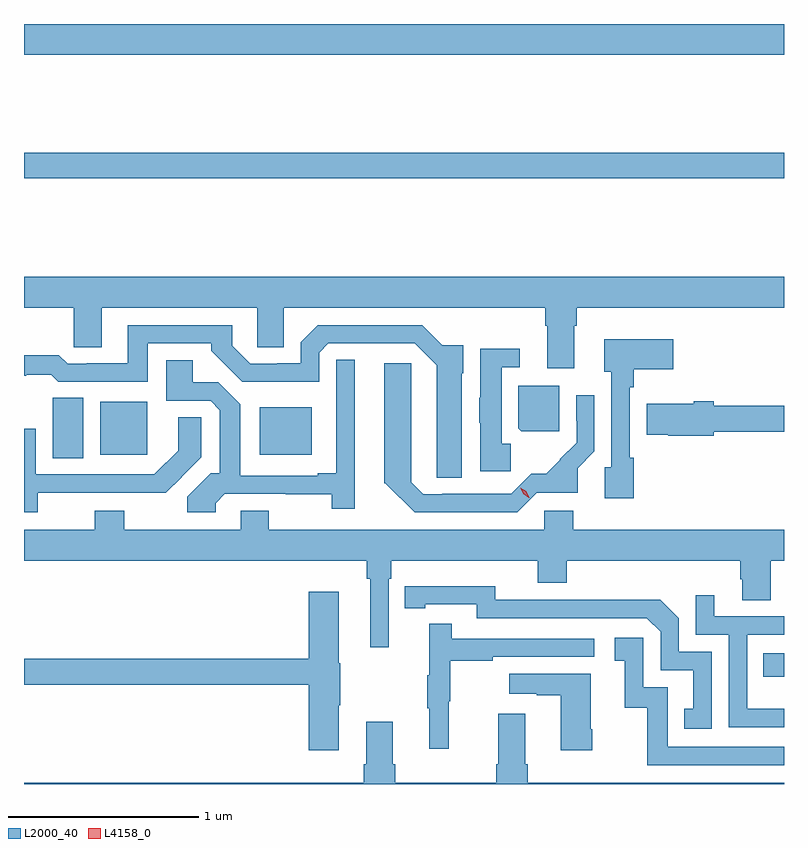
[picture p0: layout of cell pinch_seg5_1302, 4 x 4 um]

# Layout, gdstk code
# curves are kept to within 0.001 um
import gdstk
lib = gdstk.Library(unit=1e-6, precision=1e-09)
def R(c, l, rs):  # rectangles x0, y0, x1, y1
    for r in rs: c.add(gdstk.rectangle(r[:2], r[2:], *l))
def P(c, l, *ps):  # polygons
    for p in ps: c.add(gdstk.Polygon(p, *l))
L2000_40 = (2000, 40)
L4158_0 = (4158, 0)

pinch_seg5_1302 = lib.new_cell('pinch_seg5_1302')
R(pinch_seg5_1302, L2000_40, [(326.917,897.441,327.026,897.564), (323.177,898.591,323.338,898.91), (323.426,898.61,323.674,898.888), (324.266,898.61,324.541,898.861), (323.026,900.064,327.026,900.2), (323.026,900.716,327.026,900.877)])
P(pinch_seg5_1302, L2000_40, [(325.921,899.288),(325.934,899.288),(325.934,899.384),(327.026,899.384),(327.026,899.548),(323.026,899.548),(323.026,899.384),(323.288,899.384),(323.288,899.176),(323.434,899.176),(323.434,899.384),(324.254,899.384),(324.254,899.176),(324.394,899.176),(324.394,899.384),(325.769,899.384),(325.769,899.288),(325.781,899.288),(325.781,899.064),(325.921,899.064)],
  [(325.33,899.04),(325.339,899.04),(325.339,899.187),(325.228,899.187),(325.123,899.292),(324.573,899.292),(324.483,899.202),(324.483,899.091),(324.358,899.091),(324.358,899.088),(324.216,899.088),(324.122,899.183),(324.122,899.292),(323.573,899.292),(323.573,899.091),(323.356,899.091),(323.356,899.088),(323.256,899.088),(323.21,899.134),(323.026,899.134),(323.026,899.027),(323.039,899.027),(323.039,899.031),(323.17,899.031),(323.206,898.995),(323.677,898.995),(323.677,899.196),(324.012,899.196),(324.012,899.157),(324.174,898.995),(324.579,898.994),(324.579,899.148),(324.627,899.196),(325.083,899.196),(325.199,899.08),(325.199,898.489),(325.33,898.489)],
  [(326.236,898.595),(326.214,898.595),(326.214,898.964),(326.234,898.964),(326.234,899.06),(326.443,899.06),(326.443,899.218),(326.081,899.218),(326.081,899.048),(326.118,899.048),(326.118,898.545),(326.082,898.545),(326.082,898.38),(326.236,898.38)],
  [(325.588,898.668),(325.54,898.668),(325.54,899.07),(325.636,899.07),(325.636,899.168),(325.427,899.168),(325.427,898.911),(325.421,898.911),(325.421,898.779),(325.427,898.779),(325.427,898.523),(325.588,898.523)],
  [(324.034,898.355),(324.082,898.404),(324.646,898.403),(324.646,898.326),(324.766,898.326),(324.766,899.111),(324.669,899.111),(324.669,898.513),(324.572,898.513),(324.572,898.5),(324.163,898.5),(324.163,898.877),(324.048,898.992),(323.914,898.992),(323.914,899.107),(323.774,899.107),(323.774,898.893),(324.009,898.893),(324.057,898.845),(324.056,898.513),(324.01,898.513),(323.886,898.389),(323.886,898.308),(324.034,898.308)],
  [(325.725,898.41),(325.94,898.41),(325.94,898.539),(326.028,898.628),(326.028,898.924),(325.932,898.924),(325.932,898.79),(325.935,898.79),(325.935,898.674),(325.846,898.585),(325.848,898.583),(325.775,898.51),(325.696,898.51),(325.59,898.404),(325.228,898.404),(325.228,898.401),(325.128,898.401),(325.064,898.466),(325.063,899.092),(324.923,899.092),(324.923,898.461),(324.926,898.461),(325.003,898.384),(325.004,898.385),(325.082,898.308),(325.623,898.308)],
  [(325.843,898.972),(325.628,898.972),(325.628,898.749),(325.644,898.733),(325.843,898.733)],
  [(326.656,898.732),(327.026,898.732),(327.026,898.868),(326.656,898.868),(326.656,898.892),(326.552,898.892),(326.552,898.879),(326.304,898.879),(326.304,898.716),(326.416,898.716),(326.416,898.709),(326.656,898.709)],
  [(323.098,898.409),(323.773,898.409),(323.857,898.492),(323.856,898.493),(323.959,898.596),(323.958,898.807),(323.838,898.807),(323.838,898.632),(323.712,898.506),(323.089,898.506),(323.089,898.747),(323.026,898.747),(323.026,898.308),(323.098,898.308)],
  [(324.945,897.956),(324.959,897.956),(324.959,898.052),(325.73,898.052),(325.73,897.935),(325.883,897.935),(325.883,898.052),(326.795,898.052),(326.795,897.954),(326.807,897.954),(326.807,897.844),(326.955,897.844),(326.955,898.052),(327.026,898.052),(327.026,898.216),(325.916,898.216),(325.916,898.314),(325.764,898.314),(325.764,898.216),(324.315,898.216),(324.315,898.315),(324.167,898.315),(324.167,898.216),(323.553,898.216),(323.553,898.315),(323.398,898.315),(323.398,898.216),(323.026,898.216),(323.026,898.052),(324.829,898.052),(324.829,897.956),(324.848,897.956),(324.848,897.597),(324.945,897.597)],
  [(326.646,897.573),(326.472,897.573),(326.472,897.75),(326.374,897.848),(325.966,897.848),(325.966,897.846),(325.506,897.846),(325.506,897.919),(325.03,897.918),(325.03,897.802),(325.138,897.802),(325.138,897.822),(325.41,897.822),(325.41,897.75),(326.304,897.75),(326.376,897.678),(326.376,897.477),(326.549,897.477),(326.549,897.273),(326.5,897.273),(326.5,897.168),(326.646,897.168)],
  [(324.682,897.292),(324.69,897.292),(324.69,897.513),(324.682,897.513),(324.682,897.889),(324.524,897.889),(324.524,897.536),(323.026,897.536),(323.026,897.4),(324.524,897.4),(324.524,897.054),(324.682,897.054)],
  [(327.026,897.274),(326.832,897.274),(326.832,897.663),(327.026,897.663),(327.026,897.759),(326.659,897.759),(326.659,897.871),(326.562,897.871),(326.562,897.663),(326.736,897.663),(326.736,897.177),(327.026,897.177)],
  [(325.262,897.312),(325.27,897.312),(325.27,897.526),(325.493,897.526),(325.493,897.546),(326.026,897.546),(326.026,897.642),(325.277,897.642),(325.277,897.721),(325.16,897.721),(325.16,897.449),(325.149,897.449),(325.149,897.275),(325.16,897.275),(325.16,897.063),(325.262,897.063)],
  [(327.026,897.072),(326.415,897.072),(326.415,897.387),(326.286,897.387),(326.286,897.646),(326.136,897.646),(326.136,897.525),(326.189,897.525),(326.189,897.279),(326.307,897.279),(326.307,896.976),(327.026,896.976)],
  [(326.016,897.166),(326.008,897.166),(326.008,897.457),(325.581,897.457),(325.581,897.353),(325.724,897.353),(325.724,897.343),(325.85,897.343),(325.85,897.054),(326.016,897.054)],
  [(327.026,896.884),(325.676,896.884),(325.676,896.98),(325.663,896.98),(325.663,897.247),(325.523,897.247),(325.523,896.98),(325.511,896.98),(325.511,896.884),(324.98,896.884),(324.98,896.98),(324.967,896.98),(324.967,897.205),(324.827,897.205),(324.827,896.98),(324.815,896.98),(324.815,896.884),(323.026,896.884),(323.026,896.877),(327.026,896.877)])
P(pinch_seg5_1302, L4158_0, [(325.683,898.384),(325.654,898.404),(325.639,898.436),(325.639,898.436),(325.639,898.436),(325.669,898.417),(325.684,898.384),(325.684,898.384)])

lib.write_gds('pinch_seg5_1302.gds')
